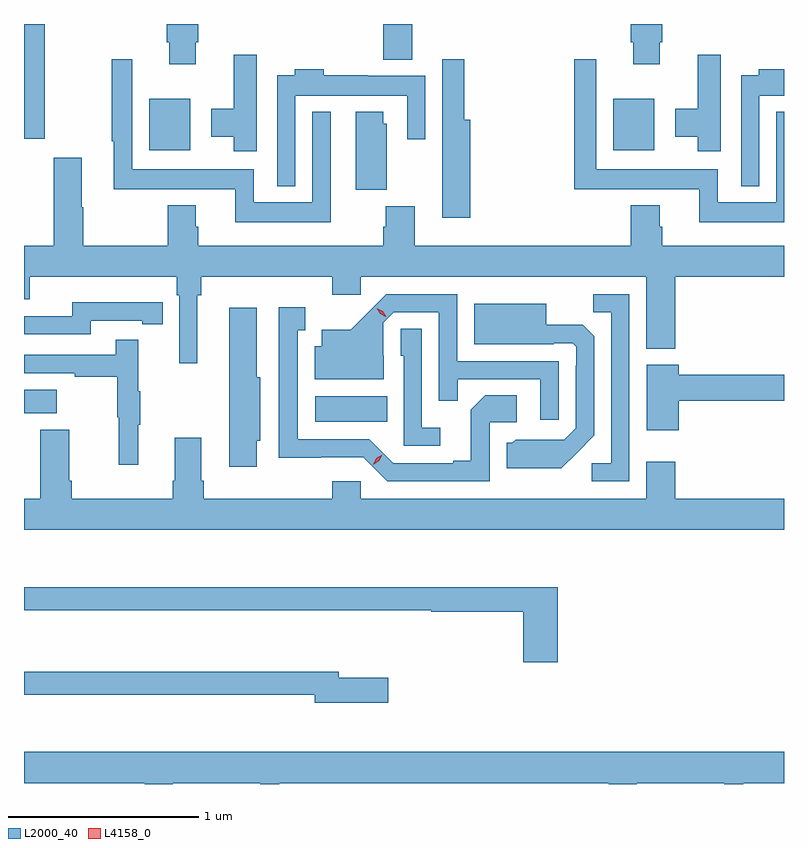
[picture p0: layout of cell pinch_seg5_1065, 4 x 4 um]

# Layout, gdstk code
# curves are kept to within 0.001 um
import gdstk
lib = gdstk.Library(unit=1e-6, precision=1e-09)
def R(c, l, rs):  # rectangles x0, y0, x1, y1
    for r in rs: c.add(gdstk.rectangle(r[:2], r[2:], *l))
def P(c, l, *ps):  # polygons
    for p in ps: c.add(gdstk.Polygon(p, *l))
L2000_40 = (2000, 40)
L4158_0 = (4158, 0)

pinch_seg5_1065 = lib.new_cell('pinch_seg5_1065')
R(pinch_seg5_1065, L2000_40, [(792.498,854.666,792.878,854.8), (790.965,854.711,791.137,854.833), (791.624,856.094,791.839,856.366), (794.066,856.094,794.281,856.366), (790.965,856.154,791.074,856.759), (792.857,856.571,793.009,856.759)])
P(pinch_seg5_1065, L2000_40, [(791.717,856.662),(791.729,856.662),(791.729,856.548),(791.869,856.548),(791.869,856.662),(791.882,856.662),(791.882,856.759),(791.717,856.759)],
  [(794.311,856.662),(794.324,856.662),(794.324,856.759),(794.159,856.759),(794.159,856.662),(794.171,856.662),(794.171,856.548),(794.311,856.548)],
  [(792.19,856.597),(792.068,856.597),(792.068,856.314),(791.951,856.314),(791.951,856.166),(792.068,856.166),(792.068,856.089),(792.19,856.089)],
  [(794.632,856.597),(794.51,856.597),(794.51,856.314),(794.393,856.314),(794.393,856.166),(794.51,856.166),(794.51,856.089),(794.632,856.089)],
  [(794.965,856.297),(794.925,856.297),(794.925,855.82),(794.616,855.82),(794.616,855.994),(793.977,855.994),(793.977,856.573),(793.861,856.573),(793.861,855.888),(793.984,855.888),(793.984,855.89),(794.519,855.89),(794.519,855.716),(794.965,855.716)],
  [(792.58,856.297),(792.483,856.297),(792.483,855.82),(792.174,855.82),(792.174,855.994),(791.535,855.994),(791.535,856.573),(791.427,856.573),(791.427,856.141),(791.438,856.141),(791.438,855.89),(792.077,855.89),(792.077,855.716),(792.58,855.716)],
  [(793.313,856.255),(793.283,856.255),(793.283,856.573),(793.167,856.573),(793.167,856.151),(793.166,856.151),(793.166,855.738),(793.313,855.738)],
  [(792.393,856.382),(792.981,856.382),(792.981,856.152),(793.077,856.152),(793.077,856.486),(792.773,856.486),(792.773,856.489),(792.542,856.489),(792.542,856.522),(792.389,856.522),(792.389,856.489),(792.297,856.489),(792.297,855.905),(792.393,855.905)],
  [(794.835,856.382),(794.965,856.382),(794.965,856.522),(794.831,856.522),(794.831,856.489),(794.739,856.489),(794.739,855.905),(794.835,855.905)],
  [(792.874,856.233),(792.856,856.233),(792.856,856.297),(792.71,856.297),(792.71,855.886),(792.874,855.886)],
  [(791.878,855.332),(791.897,855.332),(791.897,855.428),(792.587,855.428),(792.587,855.333),(792.738,855.333),(792.738,855.428),(794.24,855.428),(794.24,855.05),(794.393,855.05),(794.393,855.428),(794.965,855.428),(794.965,855.592),(794.324,855.592),(794.324,855.693),(794.311,855.693),(794.311,855.805),(794.159,855.805),(794.159,855.592),(793.022,855.592),(793.022,855.801),(792.869,855.801),(792.869,855.692),(792.857,855.692),(792.857,855.592),(791.882,855.592),(791.882,855.693),(791.869,855.693),(791.869,855.805),(791.722,855.805),(791.722,855.592),(791.277,855.592),(791.277,855.794),(791.269,855.794),(791.269,856.054),(791.122,856.054),(791.122,855.592),(790.965,855.592),(790.965,855.311),(790.996,855.311),(790.996,855.428),(791.768,855.428),(791.768,855.332),(791.781,855.332),(791.781,854.973),(791.878,854.973)],
  [(794.151,855.336),(793.96,855.336),(793.96,855.241),(794.055,855.241),(794.055,854.448),(793.953,854.448),(793.953,854.352),(794.151,854.352)],
  [(793.779,854.985),(793.245,854.985),(793.245,855.336),(792.872,855.336),(792.685,855.151),(792.533,855.151),(792.533,855.064),(792.494,855.064),(792.494,854.888),(792.859,854.888),(792.859,855.012),(792.855,855.012),(792.855,855.186),(792.912,855.243),(793.149,855.243),(793.149,854.776),(793.247,854.776),(793.247,854.889),(793.683,854.889),(793.683,854.676),(793.779,854.676)],
  [(791.316,855.198),(791.588,855.198),(791.588,855.178),(791.696,855.178),(791.696,855.294),(791.588,855.294),(791.588,855.295),(791.22,855.295),(791.22,855.222),(790.965,855.222),(790.965,855.126),(791.316,855.126)],
  [(793.873,854.501),(793.965,854.594),(793.965,855.116),(793.906,855.175),(793.714,855.175),(793.714,855.286),(793.334,855.286),(793.334,855.074),(793.754,855.074),(793.754,855.078),(793.854,855.078),(793.872,855.06),(793.872,854.96),(793.869,854.96),(793.869,854.631),(793.809,854.571),(793.552,854.572),(793.536,854.556),(793.505,854.556),(793.505,854.42),(793.793,854.42)],
  [(793.416,854.664),(793.558,854.664),(793.558,854.804),(793.393,854.804),(793.317,854.728),(793.317,854.461),(793.223,854.461),(793.223,854.448),(792.909,854.448),(792.783,854.574),(792.406,854.574),(792.406,855.147),(792.445,855.147),(792.445,855.268),(792.305,855.268),(792.305,854.477),(792.75,854.478),(792.876,854.352),(793.416,854.352)],
  [(792.19,854.565),(792.208,854.565),(792.208,854.901),(792.19,854.901),(792.19,855.265),(792.044,855.265),(792.044,854.43),(792.19,854.43)],
  [(793.156,854.635),(793.059,854.635),(793.059,855.155),(792.948,855.155),(792.948,855.012),(792.963,855.012),(792.963,854.538),(793.156,854.538)],
  [(791.567,854.651),(791.578,854.651),(791.578,854.825),(791.567,854.825),(791.567,855.097),(791.449,855.097),(791.449,855.018),(790.965,855.018),(790.965,854.922),(791.233,854.922),(791.233,854.902),(791.457,854.902),(791.457,854.688),(791.464,854.688),(791.464,854.439),(791.567,854.439)],
  [(794.41,854.776),(794.965,854.776),(794.965,854.912),(794.41,854.912),(794.41,854.965),(794.243,854.965),(794.243,854.622),(794.41,854.622)],
  [(794.965,854.26),(794.393,854.26),(794.393,854.455),(794.24,854.455),(794.24,854.26),(792.738,854.26),(792.738,854.353),(792.587,854.353),(792.587,854.26),(791.912,854.26),(791.912,854.356),(791.899,854.356),(791.899,854.581),(791.759,854.581),(791.759,854.356),(791.747,854.356),(791.747,854.26),(791.216,854.26),(791.216,854.356),(791.203,854.356),(791.203,854.623),(791.051,854.623),(791.051,854.26),(790.965,854.26),(790.965,854.096),(794.965,854.096)],
  [(793.775,853.795),(790.965,853.795),(790.965,853.674),(793.108,853.674),(793.108,853.666),(793.592,853.666),(793.592,853.401),(793.775,853.401)],
  [(792.883,853.317),(792.622,853.317),(792.622,853.351),(790.965,853.351),(790.965,853.23),(792.494,853.23),(792.494,853.187),(792.883,853.187)],
  [(791.748,852.764),(792.209,852.764),(792.209,852.759),(792.308,852.759),(792.308,852.764),(794.042,852.764),(794.042,852.759),(794.19,852.759),(794.19,852.764),(794.651,852.764),(794.651,852.759),(794.75,852.759),(794.75,852.764),(794.965,852.764),(794.965,852.928),(790.965,852.928),(790.965,852.764),(791.6,852.764),(791.6,852.759),(791.748,852.759)])
P(pinch_seg5_1065, L4158_0, [(792.87,855.218),(792.84,855.233),(792.822,855.262),(792.822,855.263),(792.822,855.263),(792.853,855.248),(792.871,855.218),(792.871,855.218)],
  [(792.802,854.44),(792.802,854.441),(792.819,854.473),(792.851,854.493),(792.851,854.493),(792.851,854.492),(792.834,854.46),(792.802,854.44)])

lib.write_gds('pinch_seg5_1065.gds')
